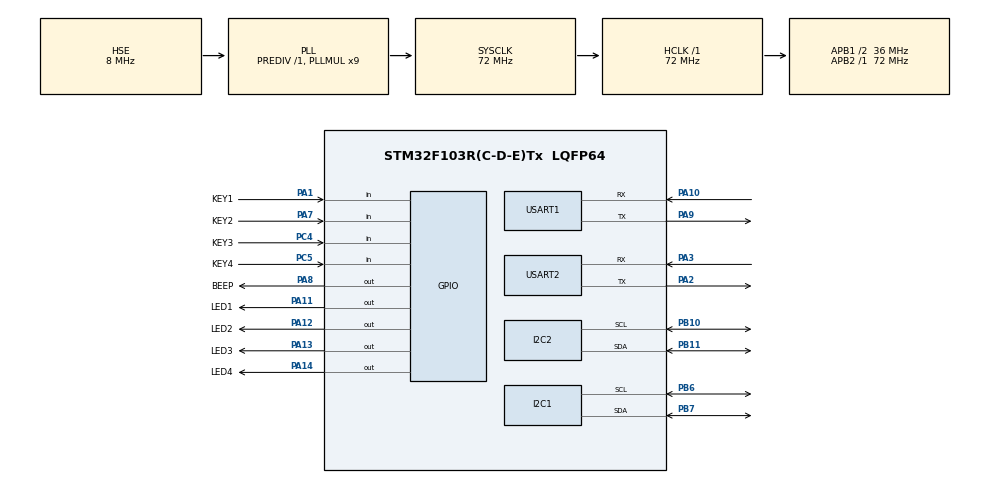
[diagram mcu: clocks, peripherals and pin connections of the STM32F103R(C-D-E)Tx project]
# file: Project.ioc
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FREERTOS.Tasks01=defaultTask,24,128,StartDefaultTask,Default,NULL,Dynamic,NULL,NULL
Mcu.Family=STM32F1
Mcu.Name=STM32F103R(C-D-E)Tx
Mcu.Package=LQFP64
NVIC.PriorityGroup=NVIC_PRIORITYGROUP_4
NVIC.TIM7_IRQn=true\:15\:0\:false\:false\:true\:false\:false\:true\:true
NVIC.TimeBase=TIM7_IRQn
NVIC.TimeBaseIP=TIM7
PA0-WKUP.Signal=ADCx_IN0
PA1.GPIO_Label=KEY1
PA1.Signal=GPIO_Input
PA10.Mode=Asynchronous
PA10.Signal=USART1_RX
PA11.GPIO_Label=LED1
PA11.GPIO_Speed=GPIO_SPEED_FREQ_HIGH
PA11.PinState=GPIO_PIN_SET
PA11.Signal=GPIO_Output
PA12.GPIO_Label=LED2
PA12.GPIO_Speed=GPIO_SPEED_FREQ_HIGH
PA12.PinState=GPIO_PIN_SET
PA12.Signal=GPIO_Output
PA13.GPIO_Label=LED3
PA13.GPIO_Speed=GPIO_SPEED_FREQ_HIGH
PA13.PinState=GPIO_PIN_SET
PA13.Signal=GPIO_Output
PA14.GPIO_Label=LED4
PA14.GPIO_Speed=GPIO_SPEED_FREQ_HIGH
PA14.PinState=GPIO_PIN_SET
PA14.Signal=GPIO_Output
PA2.Mode=Asynchronous
PA2.Signal=USART2_TX
PA3.Mode=Asynchronous
PA3.Signal=USART2_RX
PA7.GPIO_Label=KEY2
PA7.Signal=GPIO_Input
PA8.GPIO_Label=BEEP
PA8.GPIO_ModeDefaultOutputPP=GPIO_MODE_OUTPUT_PP
PA8.GPIO_PuPd=GPIO_NOPULL
PA8.GPIO_Speed=GPIO_SPEED_FREQ_HIGH
PA8.PinState=GPIO_PIN_RESET
PA8.Signal=GPIO_Output
PA9.GPIO_Speed=GPIO_SPEED_FREQ_HIGH
PA9.Mode=Asynchronous
PA9.Signal=USART1_TX
PB10.Mode=I2C
PB10.Signal=I2C2_SCL
PB11.Mode=I2C
PB11.Signal=I2C2_SDA
PB6.Mode=I2C
PB6.Signal=I2C1_SCL
PB7.Mode=I2C
PB7.Signal=I2C1_SDA
PC14-OSC32_IN.Mode=LSE-External-Oscillator
PC14-OSC32_IN.Signal=RCC_OSC32_IN
PC15-OSC32_OUT.Mode=LSE-External-Oscillator
PC15-OSC32_OUT.Signal=RCC_OSC32_OUT
PC4.GPIO_Label=KEY3
PC4.Signal=GPIO_Input
PC5.GPIO_Label=KEY4
PC5.Signal=GPIO_Input
PD0-OSC_IN.Mode=HSE-External-Oscillator
PD0-OSC_IN.Signal=RCC_OSC_IN
PD1-OSC_OUT.Mode=HSE-External-Oscillator
PD1-OSC_OUT.Signal=RCC_OSC_OUT
ProjectManager.HeapSize=0x200
ProjectManager.StackSize=0x400
ProjectManager.TargetToolchain=MDK-ARM V5.32
RCC.ADCPresc=RCC_ADCPCLK2_DIV6
RCC.AHBFreq_Value=72000000
RCC.APB1CLKDivider=RCC_HCLK_DIV2
RCC.APB1Freq_Value=36000000
RCC.APB1TimFreq_Value=72000000
RCC.APB2Freq_Value=72000000
RCC.APB2TimFreq_Value=72000000
RCC.HCLKFreq_Value=72000000
RCC.PLLMUL=RCC_PLL_MUL9
RCC.PLLSourceVirtual=RCC_PLLSOURCE_HSE
RCC.SYSCLKFreq_VALUE=72000000
RCC.SYSCLKSource=RCC_SYSCLKSOURCE_PLLCLK
RCC.USBFreq_Value=72000000
SH.ADCx_IN0.0=ADC1_IN0
USART1.VirtualMode=VM_ASYNC
USART2.VirtualMode=VM_ASYNC
VP_FREERTOS_VS_CMSIS_V2.Mode=CMSIS_V2
VP_SYS_VS_ND.Mode=No_Debug
VP_SYS_VS_tim7.Mode=TIM7
board=custom

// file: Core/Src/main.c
/* USER CODE BEGIN Header */
/**
  ******************************************************************************
  * @file           : main.c
  * @brief          : Main program body
  ******************************************************************************
  * @attention
  *
  * Copyright (c) 2026 STMicroelectronics.
  * All rights reserved.
  *
  * This software is licensed under terms that can be found in the LICENSE file
  * in the root directory of this software component.
  * If no LICENSE file comes with this software, it is provided AS-IS.
  *
  ******************************************************************************
  */
/* USER CODE END Header */
#include "main.h"
#include "cmsis_os.h"
#include "i2c.h"
#include "usart.h"
#include "gpio.h"

void SystemClock_Config(void);
void MX_FREERTOS_Init(void);

int main(void)
{

  /* MCU Configuration--------------------------------------------------------*/

  /* Reset of all peripherals, Initializes the Flash interface and the Systick. */
  HAL_Init();

  /* Configure the system clock */
  SystemClock_Config();

  /* Initialize all configured peripherals */
  MX_GPIO_Init();
  MX_USART1_UART_Init();
  MX_I2C1_Init();
  MX_I2C2_Init();
  MX_USART2_UART_Init();

  /* Init scheduler */
  osKernelInitialize();  /* Call init function for freertos objects (in cmsis_os2.c) */
  MX_FREERTOS_Init();

  /* Start scheduler */
  osKernelStart();

  /* We should never get here as control is now taken by the scheduler */

  /* Infinite loop */
  while (1)
  {

  }
}

void SystemClock_Config(void)
{
  RCC_OscInitTypeDef RCC_OscInitStruct = {0};
  RCC_ClkInitTypeDef RCC_ClkInitStruct = {0};

  /** Initializes the RCC Oscillators according to the specified parameters
  * in the RCC_OscInitTypeDef structure.
  */
  RCC_OscInitStruct.OscillatorType = RCC_OSCILLATORTYPE_HSE;
  RCC_OscInitStruct.HSEState = RCC_HSE_ON;
  RCC_OscInitStruct.HSEPredivValue = RCC_HSE_PREDIV_DIV1;
  RCC_OscInitStruct.HSIState = RCC_HSI_ON;
  RCC_OscInitStruct.PLL.PLLState = RCC_PLL_ON;
  RCC_OscInitStruct.PLL.PLLSource = RCC_PLLSOURCE_HSE;
  RCC_OscInitStruct.PLL.PLLMUL = RCC_PLL_MUL9;
  if (HAL_RCC_OscConfig(&RCC_OscInitStruct) != HAL_OK)
  {
    Error_Handler();
  }

  /** Initializes the CPU, AHB and APB buses clocks
  */
  RCC_ClkInitStruct.ClockType = RCC_CLOCKTYPE_HCLK|RCC_CLOCKTYPE_SYSCLK
                              |RCC_CLOCKTYPE_PCLK1|RCC_CLOCKTYPE_PCLK2;
  RCC_ClkInitStruct.SYSCLKSource = RCC_SYSCLKSOURCE_PLLCLK;
  RCC_ClkInitStruct.AHBCLKDivider = RCC_SYSCLK_DIV1;
  RCC_ClkInitStruct.APB1CLKDivider = RCC_HCLK_DIV2;
  RCC_ClkInitStruct.APB2CLKDivider = RCC_HCLK_DIV1;

  if (HAL_RCC_ClockConfig(&RCC_ClkInitStruct, FLASH_LATENCY_2) != HAL_OK)
  {
    Error_Handler();
  }
}

void HAL_TIM_PeriodElapsedCallback(TIM_HandleTypeDef *htim)
{
  if (htim->Instance == TIM7)
  {
    HAL_IncTick();
  }
}

void Error_Handler(void)
{
  __disable_irq();
  while (1)
  {
  }
}

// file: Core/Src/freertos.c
/* USER CODE BEGIN Header */
/**
  ******************************************************************************
  * File Name          : freertos.c
  * Description        : Code for freertos applications
  ******************************************************************************
  * @attention
  *
  * Copyright (c) 2026 STMicroelectronics.
  * All rights reserved.
  *
  * This software is licensed under terms that can be found in the LICENSE file
  * in the root directory of this software component.
  * If no LICENSE file comes with this software, it is provided AS-IS.
  *
  ******************************************************************************
  */
/* USER CODE END Header */

#include "FreeRTOS.h"
#include "task.h"
#include "main.h"
#include "cmsis_os.h"

/* USER CODE BEGIN Includes */

#include "oled.h"
#include "HC05.h"
#include "GY39.h"
#include "led.h"
#include "beep.h"

/* USER CODE END Includes */

/* Definitions for defaultTask */
osThreadId_t defaultTaskHandle;
const osThreadAttr_t defaultTask_attributes = {
  .name = "defaultTask",
  .stack_size = 128 * 4,
  .priority = (osPriority_t) osPriorityNormal,
};

osThreadId_t oledTaskHandle;
const osThreadAttr_t oledTask_attributes = {
  .name = "oledTask",
  .stack_size = 256 * 4,
  .priority = (osPriority_t) osPriorityNormal,
};

osThreadId_t uartTaskHandle;
const osThreadAttr_t uartTask_attributes = {
  .name = "uartTask",
  .stack_size = 256 * 4,
  .priority = (osPriority_t) osPriorityNormal,
};

osThreadId_t ledTaskHandle;
const osThreadAttr_t ledTask_attributes = {
  .name = "ledTask",
  .stack_size = 256 * 4,
  .priority = (osPriority_t) osPriorityNormal,
};

osThreadId_t beepTaskHandle;
const osThreadAttr_t beepTask_attributes = {
  .name = "beepTask",
  .stack_size = 256 * 4,
  .priority = (osPriority_t) osPriorityNormal,
};

void StartDefaultTask(void *argument);

void OledTask(void *argument);
void LedTask(void *argument);
void BeepTask(void *argument);
void UartTask(void *argument);

void MX_FREERTOS_Init(void); /* (MISRA C 2004 rule 8.1) */

void MX_FREERTOS_Init(void) {

  /* Create the thread(s) */
  /* creation of defaultTask */
  defaultTaskHandle = osThreadNew(StartDefaultTask, NULL, &defaultTask_attributes);

  oledTaskHandle = osThreadNew(OledTask, NULL, &oledTask_attributes);
  ledTaskHandle = osThreadNew(LedTask, NULL, &ledTask_attributes);
  beepTaskHandle = osThreadNew(BeepTask, NULL, &beepTask_attributes);
  uartTaskHandle = osThreadNew(UartTask, NULL, &uartTask_attributes);

}

void StartDefaultTask(void *argument)
{
  for(;;)
  {
    osDelay(1);
  }
}

/* USER CODE BEGIN Application */

void OledTask(void *argument)
{
    uint8_t page = 0;

    OLED_HAL_Init();

    osDelay(2500);

    for(;;)
    {
        OLED_HAL_CLS();

        if(page == 0)
        {
            OLED_HAL_ShowGY39Data(GY39Data.Temp, GY39Data.Hum, GY39Data.P, GY39Data.Alt, GY39Data.Lux);
        }
        else
        {
            OLED_HAL_ShowGY39Data2(GY39Data.Hum, GY39Data.P, GY39Data.Lux);
        }

        page = !page;
        osDelay(2000);
    }
}

void UartTask(void *argument)
{
    uint8_t msg_buf[100];
    uint8_t msg_len = 0;

    osDelay(2000);

    for(;;)
    {
        GY39_ReadData();

        HC05_BuildMessage(msg_buf, &msg_len, GY39Data.Temp, GY39Data.Hum, GY39Data.P, GY39Data.Alt, GY39Data.Lux);

        HAL_UART_Transmit(&huart1, msg_buf, msg_len, 100);
        HC05_SendGY39Data(GY39Data.Temp, GY39Data.Hum, GY39Data.P, GY39Data.Alt, GY39Data.Lux);

        vTaskDelay(pdMS_TO_TICKS(1000));
    }
}

void BeepTask(void *argument)
{
    for(;;)
    {
        beep_ctr();
        osDelay(100);
    }
}

void LedTask(void *argument)
{
    for(;;)
    {
        led_ctr();
        osDelay(100);
    }
}
/* USER CODE END Application */
